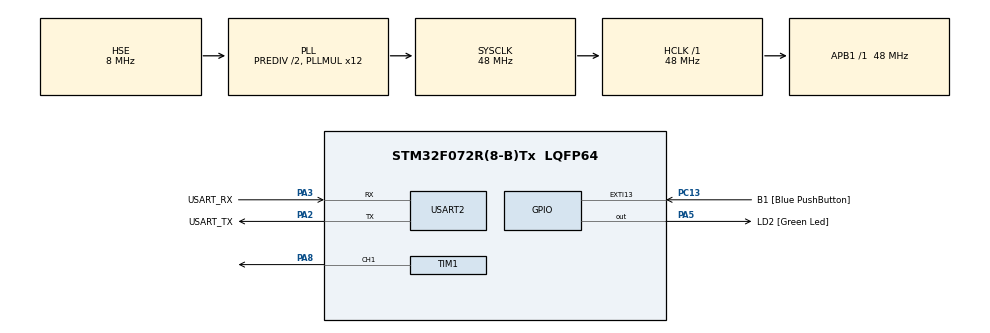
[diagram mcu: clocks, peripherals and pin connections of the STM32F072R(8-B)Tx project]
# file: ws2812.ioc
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Dma.Request0=TIM1_CH1
Dma.TIM1_CH1.0.Direction=DMA_MEMORY_TO_PERIPH
Dma.TIM1_CH1.0.Instance=DMA1_Channel2
Dma.TIM1_CH1.0.MemDataAlignment=DMA_MDATAALIGN_HALFWORD
Dma.TIM1_CH1.0.MemInc=DMA_MINC_ENABLE
Dma.TIM1_CH1.0.Mode=DMA_NORMAL
Dma.TIM1_CH1.0.PeriphDataAlignment=DMA_PDATAALIGN_HALFWORD
Dma.TIM1_CH1.0.PeriphInc=DMA_PINC_DISABLE
Dma.TIM1_CH1.0.Priority=DMA_PRIORITY_LOW
Mcu.Family=STM32F0
Mcu.Name=STM32F072R(8-B)Tx
Mcu.Package=LQFP64
NVIC.DMA1_Channel2_3_IRQn=true\:0\:0\:false\:false\:true\:false\:true\:true
NVIC.TIM1_BRK_UP_TRG_COM_IRQn=true\:0\:0\:false\:false\:true\:true\:true\:true
NVIC.TIM1_CC_IRQn=true\:0\:0\:false\:false\:true\:true\:true\:true
PA13.GPIO_Label=TMS
PA13.Mode=Serial_Wire
PA13.Signal=SYS_SWDIO
PA14.GPIO_Label=TCK
PA14.Mode=Serial_Wire
PA14.Signal=SYS_SWCLK
PA2.GPIO_Label=USART_TX
PA2.GPIO_Mode=GPIO_MODE_AF_PP
PA2.GPIO_PuPd=GPIO_NOPULL
PA2.GPIO_Speed=GPIO_SPEED_FREQ_LOW
PA2.Mode=Asynchronous
PA2.Signal=USART2_TX
PA3.GPIO_Label=USART_RX
PA3.GPIO_Mode=GPIO_MODE_AF_PP
PA3.GPIO_PuPd=GPIO_NOPULL
PA3.GPIO_Speed=GPIO_SPEED_FREQ_LOW
PA3.Mode=Asynchronous
PA3.Signal=USART2_RX
PA5.GPIO_Label=LD2 [Green Led]
PA5.GPIO_Mode=GPIO_MODE_OUTPUT_PP
PA5.GPIO_PuPd=GPIO_NOPULL
PA5.GPIO_Speed=GPIO_SPEED_FREQ_LOW
PA5.Signal=GPIO_Output
PA8.Signal=S_TIM1_CH1
PC13.GPIO_Label=B1 [Blue PushButton]
PC13.GPIO_ModeDefaultEXTI=GPIO_MODE_IT_FALLING
PC13.Signal=GPXTI13
PC14-OSC32_IN.Mode=LSE-External-Oscillator
PC14-OSC32_IN.Signal=RCC_OSC32_IN
PC15-OSC32_OUT.Mode=LSE-External-Oscillator
PC15-OSC32_OUT.Signal=RCC_OSC32_OUT
PF0-OSC_IN.Mode=HSE-External-Clock-Source
PF0-OSC_IN.Signal=RCC_OSC_IN
PF1-OSC_OUT.Signal=RCC_OSC_OUT
ProjectManager.HeapSize=0x200
ProjectManager.StackSize=0x400
ProjectManager.TargetToolchain=STM32CubeIDE
RCC.AHBFreq_Value=48000000
RCC.APB1Freq_Value=48000000
RCC.APB1TimFreq_Value=48000000
RCC.FLatency-AdvancedSettings=FLASH_LATENCY_1
RCC.HCLKFreq_Value=48000000
RCC.PLLDivider=RCC_PREDIV_DIV2
RCC.PLLMUL=RCC_PLL_MUL12
RCC.PLLSourceVirtual=RCC_PLLSOURCE_HSE
RCC.PREFETCH_ENABLE-AdvancedSettings=1
RCC.SYSCLKFreq_VALUE=48000000
RCC.SYSCLKSource=RCC_SYSCLKSOURCE_PLLCLK
SH.S_TIM1_CH1.0=TIM1_CH1,PWM Generation1 CH1
TIM1.Channel-PWM\ Generation1\ CH1=TIM_CHANNEL_1
TIM1.Period=60-1
USART2.VirtualMode=VM_ASYNC
USART2.VirtualMode-Asynchronous=VM_ASYNC
VP_TIM1_VS_ClockSourceINT.Mode=Internal
board=NUCLEO-F072RB

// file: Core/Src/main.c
/* USER CODE BEGIN Header */
/**
  ******************************************************************************
  * @file           : main.c
  * @brief          : Main program body
  ******************************************************************************
  * @attention
  *
  * Copyright (c) 2024 STMicroelectronics.
  * All rights reserved.
  *
  * This software is licensed under terms that can be found in the LICENSE file
  * in the root directory of this software component.
  * If no LICENSE file comes with this software, it is provided AS-IS.
  *
  ******************************************************************************
  */
/* USER CODE END Header */
#include "main.h"
#define MAX_LED		3

TIM_HandleTypeDef htim1;
DMA_HandleTypeDef hdma_tim1_ch1;

UART_HandleTypeDef huart2;

/* USER CODE BEGIN PV */
unsigned char LED_Data[MAX_LED][4];
unsigned short pwmData[(24*MAX_LED)+50];
unsigned int color;
unsigned char sendflag=0;

/* USER CODE END PV */

void SystemClock_Config(void);
static void MX_GPIO_Init(void);
static void MX_DMA_Init(void);
static void MX_USART2_UART_Init(void);
static void MX_TIM1_Init(void);
/* USER CODE BEGIN PFP */

void Reset_LEDs(void)
{
	for(char i=0;i<MAX_LED;i++)
	{
		LED_Data[i][0] = 0;
		LED_Data[i][1] = 0;
		LED_Data[i][2] = 0;
		LED_Data[i][3] = 0;
	}

}

void WS2812_Moving_Effect(void)
{
	char red, green, blue;

	red = rand();
	green = rand();
	blue = rand();

	for(char i=0;i<MAX_LED;i++)
	{
		Reset_LEDs();
		LED_Set_Data(i,red,green,blue);
		WS2812_Write();
		HAL_Delay(200);
	}

	for(char i=MAX_LED;i>=0;i--)
	{
		if(i>MAX_LED) break;
		Reset_LEDs();
		LED_Set_Data(i,red,green,blue);
		WS2812_Write();
		HAL_Delay(200);
	}

}

void LED_Set_Data(int LEDnumber, int Red, int Green, int Blue)
{
	LED_Data[LEDnumber][0] = LEDnumber;
	LED_Data[LEDnumber][1] = Green;
	LED_Data[LEDnumber][2] = Red;
	LED_Data[LEDnumber][3] = Blue;
}

void HAL_TIM_PWM_PulseFinishedCallback(TIM_HandleTypeDef *htim)
{
	HAL_TIM_PWM_Stop_DMA(&htim1, TIM_CHANNEL_1);
	sendflag = 1;
}

void WS2812_Write(void)
{
	unsigned int index = 0;

	for(int i=0;i<MAX_LED;i++)
	{
		color = ( (LED_Data[i][1]<<16) | (LED_Data[i][2]<<8) | (LED_Data[i][3]) );

		for(int i=23;i>=0;i--)
		{
			if(color&(1<<i))
			{
				pwmData[index] = 40;
			}
			else
			{
				pwmData[index] = 20;
			}

			index++;
		}
	}

	for(int i=0;i<50;i++)
	{
		pwmData[index] = 0;
		index++;
	}

	HAL_TIM_PWM_Start_DMA(&htim1, TIM_CHANNEL_1, (uint32_t *)pwmData, index);
	while(!sendflag);
	sendflag = 0;
}

/* USER CODE END PFP */

int main(void)
{

  /* MCU Configuration--------------------------------------------------------*/

  /* Reset of all peripherals, Initializes the Flash interface and the Systick. */
  HAL_Init();

  /* Configure the system clock */
  SystemClock_Config();

  /* Initialize all configured peripherals */
  MX_GPIO_Init();
  MX_DMA_Init();
  MX_USART2_UART_Init();
  MX_TIM1_Init();
  /* USER CODE BEGIN 2 */
  LED_Set_Data(0,255,0,0);
  LED_Set_Data(1,0,255,0);
  LED_Set_Data(2,0,0,255);
  LED_Set_Data(3,100,50,25);
  LED_Set_Data(4,75,69,99);
  LED_Set_Data(5,15,120,50);
  LED_Set_Data(6,200,55,100);
  LED_Set_Data(7,50,50,50);
  WS2812_Write();
  /* USER CODE END 2 */

  /* Infinite loop */
  /* USER CODE BEGIN WHILE */
  while (1)
  {

	  WS2812_Moving_Effect();
    /* USER CODE END WHILE */

  }
}

void SystemClock_Config(void)
{
  RCC_OscInitTypeDef RCC_OscInitStruct = {0};
  RCC_ClkInitTypeDef RCC_ClkInitStruct = {0};
  RCC_PeriphCLKInitTypeDef PeriphClkInit = {0};

  /** Initializes the RCC Oscillators according to the specified parameters
  * in the RCC_OscInitTypeDef structure.
  */
  RCC_OscInitStruct.OscillatorType = RCC_OSCILLATORTYPE_HSE;
  RCC_OscInitStruct.HSEState = RCC_HSE_BYPASS;
  RCC_OscInitStruct.PLL.PLLState = RCC_PLL_ON;
  RCC_OscInitStruct.PLL.PLLSource = RCC_PLLSOURCE_HSE;
  RCC_OscInitStruct.PLL.PLLMUL = RCC_PLL_MUL12;
  RCC_OscInitStruct.PLL.PREDIV = RCC_PREDIV_DIV2;
  if (HAL_RCC_OscConfig(&RCC_OscInitStruct) != HAL_OK)
  {
    Error_Handler();
  }

  /** Initializes the CPU, AHB and APB buses clocks
  */
  RCC_ClkInitStruct.ClockType = RCC_CLOCKTYPE_HCLK|RCC_CLOCKTYPE_SYSCLK
                              |RCC_CLOCKTYPE_PCLK1;
  RCC_ClkInitStruct.SYSCLKSource = RCC_SYSCLKSOURCE_PLLCLK;
  RCC_ClkInitStruct.AHBCLKDivider = RCC_SYSCLK_DIV1;
  RCC_ClkInitStruct.APB1CLKDivider = RCC_HCLK_DIV1;

  if (HAL_RCC_ClockConfig(&RCC_ClkInitStruct, FLASH_LATENCY_1) != HAL_OK)
  {
    Error_Handler();
  }
  PeriphClkInit.PeriphClockSelection = RCC_PERIPHCLK_USART2;
  PeriphClkInit.Usart2ClockSelection = RCC_USART2CLKSOURCE_PCLK1;
  if (HAL_RCCEx_PeriphCLKConfig(&PeriphClkInit) != HAL_OK)
  {
    Error_Handler();
  }
}

static void MX_TIM1_Init(void)
{

  TIM_ClockConfigTypeDef sClockSourceConfig = {0};
  TIM_MasterConfigTypeDef sMasterConfig = {0};
  TIM_OC_InitTypeDef sConfigOC = {0};
  TIM_BreakDeadTimeConfigTypeDef sBreakDeadTimeConfig = {0};

  htim1.Instance = TIM1;
  htim1.Init.Prescaler = 0;
  htim1.Init.CounterMode = TIM_COUNTERMODE_UP;
  htim1.Init.Period = 60-1;
  htim1.Init.ClockDivision = TIM_CLOCKDIVISION_DIV1;
  htim1.Init.RepetitionCounter = 0;
  htim1.Init.AutoReloadPreload = TIM_AUTORELOAD_PRELOAD_DISABLE;
  if (HAL_TIM_Base_Init(&htim1) != HAL_OK)
  {
    Error_Handler();
  }
  sClockSourceConfig.ClockSource = TIM_CLOCKSOURCE_INTERNAL;
  if (HAL_TIM_ConfigClockSource(&htim1, &sClockSourceConfig) != HAL_OK)
  {
    Error_Handler();
  }
  if (HAL_TIM_PWM_Init(&htim1) != HAL_OK)
  {
    Error_Handler();
  }
  sMasterConfig.MasterOutputTrigger = TIM_TRGO_RESET;
  sMasterConfig.MasterSlaveMode = TIM_MASTERSLAVEMODE_DISABLE;
  if (HAL_TIMEx_MasterConfigSynchronization(&htim1, &sMasterConfig) != HAL_OK)
  {
    Error_Handler();
  }
  sConfigOC.OCMode = TIM_OCMODE_PWM1;
  sConfigOC.Pulse = 0;
  sConfigOC.OCPolarity = TIM_OCPOLARITY_HIGH;
  sConfigOC.OCNPolarity = TIM_OCNPOLARITY_HIGH;
  sConfigOC.OCFastMode = TIM_OCFAST_DISABLE;
  sConfigOC.OCIdleState = TIM_OCIDLESTATE_RESET;
  sConfigOC.OCNIdleState = TIM_OCNIDLESTATE_RESET;
  if (HAL_TIM_PWM_ConfigChannel(&htim1, &sConfigOC, TIM_CHANNEL_1) != HAL_OK)
  {
    Error_Handler();
  }
  sBreakDeadTimeConfig.OffStateRunMode = TIM_OSSR_DISABLE;
  sBreakDeadTimeConfig.OffStateIDLEMode = TIM_OSSI_DISABLE;
  sBreakDeadTimeConfig.LockLevel = TIM_LOCKLEVEL_OFF;
  sBreakDeadTimeConfig.DeadTime = 0;
  sBreakDeadTimeConfig.BreakState = TIM_BREAK_DISABLE;
  sBreakDeadTimeConfig.BreakPolarity = TIM_BREAKPOLARITY_HIGH;
  sBreakDeadTimeConfig.AutomaticOutput = TIM_AUTOMATICOUTPUT_DISABLE;
  if (HAL_TIMEx_ConfigBreakDeadTime(&htim1, &sBreakDeadTimeConfig) != HAL_OK)
  {
    Error_Handler();
  }
  HAL_TIM_MspPostInit(&htim1);

}

static void MX_USART2_UART_Init(void)
{

  huart2.Instance = USART2;
  huart2.Init.BaudRate = 38400;
  huart2.Init.WordLength = UART_WORDLENGTH_8B;
  huart2.Init.StopBits = UART_STOPBITS_1;
  huart2.Init.Parity = UART_PARITY_NONE;
  huart2.Init.Mode = UART_MODE_TX_RX;
  huart2.Init.HwFlowCtl = UART_HWCONTROL_NONE;
  huart2.Init.OverSampling = UART_OVERSAMPLING_16;
  huart2.Init.OneBitSampling = UART_ONE_BIT_SAMPLE_DISABLE;
  huart2.AdvancedInit.AdvFeatureInit = UART_ADVFEATURE_NO_INIT;
  if (HAL_UART_Init(&huart2) != HAL_OK)
  {
    Error_Handler();
  }

}

static void MX_DMA_Init(void)
{

  /* DMA controller clock enable */
  __HAL_RCC_DMA1_CLK_ENABLE();

  /* DMA interrupt init */
  /* DMA1_Channel2_3_IRQn interrupt configuration */
  HAL_NVIC_SetPriority(DMA1_Channel2_3_IRQn, 0, 0);
  HAL_NVIC_EnableIRQ(DMA1_Channel2_3_IRQn);

}

static void MX_GPIO_Init(void)
{
  GPIO_InitTypeDef GPIO_InitStruct = {0};

  /* GPIO Ports Clock Enable */
  __HAL_RCC_GPIOC_CLK_ENABLE();
  __HAL_RCC_GPIOF_CLK_ENABLE();
  __HAL_RCC_GPIOA_CLK_ENABLE();

  /*Configure GPIO pin Output Level */
  HAL_GPIO_WritePin(LD2_GPIO_Port, LD2_Pin, GPIO_PIN_RESET);

  /*Configure GPIO pin : B1_Pin */
  GPIO_InitStruct.Pin = B1_Pin;
  GPIO_InitStruct.Mode = GPIO_MODE_IT_FALLING;
  GPIO_InitStruct.Pull = GPIO_NOPULL;
  HAL_GPIO_Init(B1_GPIO_Port, &GPIO_InitStruct);

  /*Configure GPIO pin : LD2_Pin */
  GPIO_InitStruct.Pin = LD2_Pin;
  GPIO_InitStruct.Mode = GPIO_MODE_OUTPUT_PP;
  GPIO_InitStruct.Pull = GPIO_NOPULL;
  GPIO_InitStruct.Speed = GPIO_SPEED_FREQ_LOW;
  HAL_GPIO_Init(LD2_GPIO_Port, &GPIO_InitStruct);

}

void Error_Handler(void)
{
  __disable_irq();
  while (1)
  {
  }
}
